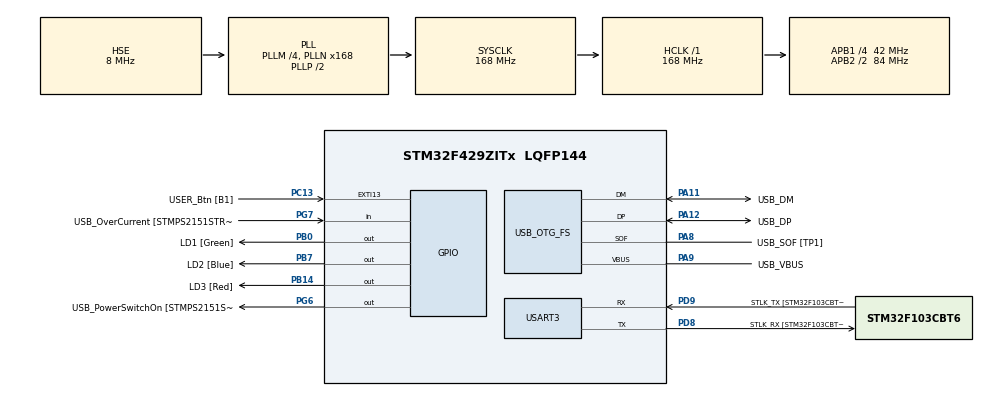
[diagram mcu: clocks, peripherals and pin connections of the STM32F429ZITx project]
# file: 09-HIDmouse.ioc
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Mcu.Family=STM32F4
Mcu.Name=STM32F429ZITx
Mcu.Package=LQFP144
NVIC.OTG_FS_IRQn=true\:0\:0\:false\:false\:true\:false\:true\:true
NVIC.PriorityGroup=NVIC_PRIORITYGROUP_4
PA1.GPIO_Label=RMII_REF_CLK [LAN8742A-CZ-TR_REFCLK0]
PA1.Signal=ETH_REF_CLK
PA10.GPIO_Label=USB_ID
PA10.Signal=USB_OTG_FS_ID
PA11.GPIO_Label=USB_DM
PA11.Mode=Device_Only
PA11.Signal=USB_OTG_FS_DM
PA12.GPIO_Label=USB_DP
PA12.Mode=Device_Only
PA12.Signal=USB_OTG_FS_DP
PA13.GPIO_Label=TMS
PA13.Mode=Serial_Wire
PA13.Signal=SYS_JTMS-SWDIO
PA14.GPIO_Label=TCK
PA14.Mode=Serial_Wire
PA14.Signal=SYS_JTCK-SWCLK
PA2.GPIO_Label=RMII_MDIO [LAN8742A-CZ-TR_MDIO]
PA2.Signal=ETH_MDIO
PA7.GPIO_Label=RMII_CRS_DV [LAN8742A-CZ-TR_CRS_DV]
PA7.Signal=ETH_CRS_DV
PA8.GPIO_Label=USB_SOF [TP1]
PA8.Mode=Activate_SOF_FS
PA8.Signal=USB_OTG_FS_SOF
PA9.GPIO_Label=USB_VBUS
PA9.Mode=Activate_VBUS
PA9.Signal=USB_OTG_FS_VBUS
PB0.GPIO_Label=LD1 [Green]
PB0.Signal=GPIO_Output
PB13.GPIO_Label=RMII_TXD1 [LAN8742A-CZ-TR_TXD1]
PB13.Signal=ETH_TXD1
PB14.GPIO_Label=LD3 [Red]
PB14.Signal=GPIO_Output
PB7.GPIO_Label=LD2 [Blue]
PB7.Signal=GPIO_Output
PC1.GPIO_Label=RMII_MDC [LAN8742A-CZ-TR_MDC]
PC1.Signal=ETH_MDC
PC13.GPIO_Label=USER_Btn [B1]
PC13.Signal=GPXTI13
PC14/OSC32_IN.Mode=LSE-External-Oscillator
PC14/OSC32_IN.Signal=RCC_OSC32_IN
PC15/OSC32_OUT.Mode=LSE-External-Oscillator
PC15/OSC32_OUT.Signal=RCC_OSC32_OUT
PC4.GPIO_Label=RMII_RXD0 [LAN8742A-CZ-TR_RXD0]
PC4.Signal=ETH_RXD0
PC5.GPIO_Label=RMII_RXD1 [LAN8742A-CZ-TR_RXD1]
PC5.Signal=ETH_RXD1
PD8.GPIO_Label=STLK_RX [STM32F103CBT6_PA3]
PD8.Mode=Asynchronous
PD8.Signal=USART3_TX
PD9.GPIO_Label=STLK_TX [STM32F103CBT6_PA2]
PD9.Mode=Asynchronous
PD9.Signal=USART3_RX
PG11.GPIO_Label=RMII_TX_EN [LAN8742A-CZ-TR_TXEN]
PG11.Signal=ETH_TX_EN
PG13.GPIO_Label=RMII_TXD0 [LAN8742A-CZ-TR_TXD0]
PG13.Signal=ETH_TXD0
PG6.GPIO_Label=USB_PowerSwitchOn [STMPS2151STR_EN]
PG6.Signal=GPIO_Output
PG7.GPIO_Label=USB_OverCurrent [STMPS2151STR_FAULT]
PG7.Signal=GPIO_Input
PH0/OSC_IN.GPIO_Label=MCO [STM32F103CBT6_PA8]
PH0/OSC_IN.Mode=HSE-External-Clock-Source
PH0/OSC_IN.Signal=RCC_OSC_IN
PH1/OSC_OUT.Mode=HSE-External-Clock-Source
PH1/OSC_OUT.Signal=RCC_OSC_OUT
ProjectManager.HeapSize=0x200
ProjectManager.StackSize=0x400
ProjectManager.TargetToolchain=STM32CubeIDE
RCC.48MHZClocksFreq_Value=48000000
RCC.AHBFreq_Value=168000000
RCC.APB1CLKDivider=RCC_HCLK_DIV4
RCC.APB1Freq_Value=42000000
RCC.APB1TimFreq_Value=84000000
RCC.APB2CLKDivider=RCC_HCLK_DIV2
RCC.APB2Freq_Value=84000000
RCC.APB2TimCLKDivider=2
RCC.APB2TimFreq_Value=168000000
RCC.CortexFreq_Value=168000000
RCC.HCLKFreq_Value=168000000
RCC.HSE_VALUE=8000000
RCC.HSI_VALUE=16000000
RCC.PLLM=4
RCC.PLLMUL=RCC_PLL_MUL9
RCC.PLLN=168
RCC.PLLQ=7
RCC.PRESCALERUSB=RCC_USBCLKSOURCE_PLL_DIV1_5
RCC.SYSCLKFreq_VALUE=168000000
RCC.SYSCLKSource=RCC_SYSCLKSOURCE_PLLCLK
RCC.SYSCLKSourceVirtual=RCC_SYSCLKSOURCE_PLLCLK
RCC.USBFreq_Value=48000000
RCC.VCOOutputFreq_Value=336000000
USART3.VirtualMode=VM_ASYNC
USB_DEVICE.CLASS_NAME_FS=HID
USB_DEVICE.VirtualMode-HID_FS=Hid
USB_DEVICE.VirtualModeFS=Hid_FS
USB_OTG_FS.VirtualMode=Device_Only
VP_USB_DEVICE_VS_USB_DEVICE_HID_FS.Mode=HID_FS
board=NUCLEO-F429ZI

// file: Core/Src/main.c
/* USER CODE BEGIN Header */
/**
  ******************************************************************************
  * @file           : main.c
  * @brief          : Main program body
  ******************************************************************************
  * @attention
  *
  * Copyright (c) 2024 STMicroelectronics.
  * All rights reserved.
  *
  * This software is licensed under terms that can be found in the LICENSE file
  * in the root directory of this software component.
  * If no LICENSE file comes with this software, it is provided AS-IS.
  *
  ******************************************************************************
  */
/* USER CODE END Header */
#include "main.h"
#include "usb_device.h"

/* USER CODE BEGIN Includes */

#include "usbd_hid.h"
#include "math.h"

/* USER CODE END Includes */

UART_HandleTypeDef huart3;

/* USER CODE BEGIN PV */

extern USBD_HandleTypeDef hUsbDeviceFS;		// handle na usb device

float sx = 0;
float sy = 0;

/* USER CODE END PV */

void SystemClock_Config(void);
static void MX_GPIO_Init(void);
static void MX_USART3_UART_Init(void);

/* USER CODE BEGIN 0 */

// funkcia na poslanie dat
static void step(int8_t x, int8_t y, int8_t btn)
{
	uint8_t buff[4];
	buff[0] = btn; // press the left button	01 pressed, 00 not pressed
	buff[1] = x; // shift X relative position - plus is to the right
	buff[2] = y; // shift Y relative position - plus is to the down
	buff[3] = 0; // no scroll
	USBD_HID_SendReport(&hUsbDeviceFS, buff, sizeof(buff));
	HAL_Delay(USBD_HID_GetPollingInterval(&hUsbDeviceFS));
}

void circle(int radius, int angleStart, int angleDraw)
{
	float angle = angleStart + 90;

	step(radius * cos(angleStart *(M_PI/180)), radius * sin(angleStart * (M_PI/180)), 0);	//posunutie na zaciatok kreslenia kruznice

	int Step = radius / M_PI;

	for (int i = 0; i <= (angleDraw/6); i++)
	{
		step(Step * cos(angle *(M_PI/180)), Step * sin(angle * (M_PI/180)), 1);
		angle += 6;
	}

	step(0, 0, 0);
}

/* USER CODE END 0 */

int main(void)
{

  /* MCU Configuration--------------------------------------------------------*/

  /* Reset of all peripherals, Initializes the Flash interface and the Systick. */
  HAL_Init();

  /* Configure the system clock */
  SystemClock_Config();

  /* Initialize all configured peripherals */
  MX_GPIO_Init();
  MX_USART3_UART_Init();
  MX_USB_DEVICE_Init();

  /* Infinite loop */
  /* USER CODE BEGIN WHILE */
  while (1)
  {

	  if (HAL_GPIO_ReadPin(USER_Btn_GPIO_Port, USER_Btn_Pin))
	  {
		  //step(10, -5, 0);
		  circle(50, 0, 360);
		  step(-65, 0, 0);
		  circle(40, 20, 140);
		  step(25, -70, 0);
		  circle(10, 0, 360);
		  step(80, 0, 0);
		  circle(10, 0, 360);
		  step(-55, 10, 0);
		  step(0, 0, 1);
		  step(0, 35, 1);
		  step(0, 0, 0);
	  }

	  HAL_Delay(300);

    /* USER CODE END WHILE */

  }
}

void SystemClock_Config(void)
{
  RCC_OscInitTypeDef RCC_OscInitStruct = {0};
  RCC_ClkInitTypeDef RCC_ClkInitStruct = {0};

  /** Configure the main internal regulator output voltage
  */
  __HAL_RCC_PWR_CLK_ENABLE();
  __HAL_PWR_VOLTAGESCALING_CONFIG(PWR_REGULATOR_VOLTAGE_SCALE1);

  /** Initializes the RCC Oscillators according to the specified parameters
  * in the RCC_OscInitTypeDef structure.
  */
  RCC_OscInitStruct.OscillatorType = RCC_OSCILLATORTYPE_HSE;
  RCC_OscInitStruct.HSEState = RCC_HSE_BYPASS;
  RCC_OscInitStruct.PLL.PLLState = RCC_PLL_ON;
  RCC_OscInitStruct.PLL.PLLSource = RCC_PLLSOURCE_HSE;
  RCC_OscInitStruct.PLL.PLLM = 4;
  RCC_OscInitStruct.PLL.PLLN = 168;
  RCC_OscInitStruct.PLL.PLLP = RCC_PLLP_DIV2;
  RCC_OscInitStruct.PLL.PLLQ = 7;
  if (HAL_RCC_OscConfig(&RCC_OscInitStruct) != HAL_OK)
  {
    Error_Handler();
  }

  /** Initializes the CPU, AHB and APB buses clocks
  */
  RCC_ClkInitStruct.ClockType = RCC_CLOCKTYPE_HCLK|RCC_CLOCKTYPE_SYSCLK
                              |RCC_CLOCKTYPE_PCLK1|RCC_CLOCKTYPE_PCLK2;
  RCC_ClkInitStruct.SYSCLKSource = RCC_SYSCLKSOURCE_PLLCLK;
  RCC_ClkInitStruct.AHBCLKDivider = RCC_SYSCLK_DIV1;
  RCC_ClkInitStruct.APB1CLKDivider = RCC_HCLK_DIV4;
  RCC_ClkInitStruct.APB2CLKDivider = RCC_HCLK_DIV2;

  if (HAL_RCC_ClockConfig(&RCC_ClkInitStruct, FLASH_LATENCY_5) != HAL_OK)
  {
    Error_Handler();
  }
}

static void MX_USART3_UART_Init(void)
{

  huart3.Instance = USART3;
  huart3.Init.BaudRate = 115200;
  huart3.Init.WordLength = UART_WORDLENGTH_8B;
  huart3.Init.StopBits = UART_STOPBITS_1;
  huart3.Init.Parity = UART_PARITY_NONE;
  huart3.Init.Mode = UART_MODE_TX_RX;
  huart3.Init.HwFlowCtl = UART_HWCONTROL_NONE;
  huart3.Init.OverSampling = UART_OVERSAMPLING_16;
  if (HAL_UART_Init(&huart3) != HAL_OK)
  {
    Error_Handler();
  }

}

static void MX_GPIO_Init(void)
{
  GPIO_InitTypeDef GPIO_InitStruct = {0};

  /* GPIO Ports Clock Enable */
  __HAL_RCC_GPIOC_CLK_ENABLE();
  __HAL_RCC_GPIOH_CLK_ENABLE();
  __HAL_RCC_GPIOA_CLK_ENABLE();
  __HAL_RCC_GPIOB_CLK_ENABLE();
  __HAL_RCC_GPIOD_CLK_ENABLE();
  __HAL_RCC_GPIOG_CLK_ENABLE();

  /*Configure GPIO pin Output Level */
  HAL_GPIO_WritePin(GPIOB, LD1_Pin|LD3_Pin|LD2_Pin, GPIO_PIN_RESET);

  /*Configure GPIO pin Output Level */
  HAL_GPIO_WritePin(USB_PowerSwitchOn_GPIO_Port, USB_PowerSwitchOn_Pin, GPIO_PIN_RESET);

  /*Configure GPIO pin : USER_Btn_Pin */
  GPIO_InitStruct.Pin = USER_Btn_Pin;
  GPIO_InitStruct.Mode = GPIO_MODE_IT_RISING;
  GPIO_InitStruct.Pull = GPIO_NOPULL;
  HAL_GPIO_Init(USER_Btn_GPIO_Port, &GPIO_InitStruct);

  /*Configure GPIO pins : RMII_MDC_Pin RMII_RXD0_Pin RMII_RXD1_Pin */
  GPIO_InitStruct.Pin = RMII_MDC_Pin|RMII_RXD0_Pin|RMII_RXD1_Pin;
  GPIO_InitStruct.Mode = GPIO_MODE_AF_PP;
  GPIO_InitStruct.Pull = GPIO_NOPULL;
  GPIO_InitStruct.Speed = GPIO_SPEED_FREQ_VERY_HIGH;
  GPIO_InitStruct.Alternate = GPIO_AF11_ETH;
  HAL_GPIO_Init(GPIOC, &GPIO_InitStruct);

  /*Configure GPIO pins : RMII_REF_CLK_Pin RMII_MDIO_Pin RMII_CRS_DV_Pin */
  GPIO_InitStruct.Pin = RMII_REF_CLK_Pin|RMII_MDIO_Pin|RMII_CRS_DV_Pin;
  GPIO_InitStruct.Mode = GPIO_MODE_AF_PP;
  GPIO_InitStruct.Pull = GPIO_NOPULL;
  GPIO_InitStruct.Speed = GPIO_SPEED_FREQ_VERY_HIGH;
  GPIO_InitStruct.Alternate = GPIO_AF11_ETH;
  HAL_GPIO_Init(GPIOA, &GPIO_InitStruct);

  /*Configure GPIO pins : LD1_Pin LD3_Pin LD2_Pin */
  GPIO_InitStruct.Pin = LD1_Pin|LD3_Pin|LD2_Pin;
  GPIO_InitStruct.Mode = GPIO_MODE_OUTPUT_PP;
  GPIO_InitStruct.Pull = GPIO_NOPULL;
  GPIO_InitStruct.Speed = GPIO_SPEED_FREQ_LOW;
  HAL_GPIO_Init(GPIOB, &GPIO_InitStruct);

  /*Configure GPIO pin : RMII_TXD1_Pin */
  GPIO_InitStruct.Pin = RMII_TXD1_Pin;
  GPIO_InitStruct.Mode = GPIO_MODE_AF_PP;
  GPIO_InitStruct.Pull = GPIO_NOPULL;
  GPIO_InitStruct.Speed = GPIO_SPEED_FREQ_VERY_HIGH;
  GPIO_InitStruct.Alternate = GPIO_AF11_ETH;
  HAL_GPIO_Init(RMII_TXD1_GPIO_Port, &GPIO_InitStruct);

  /*Configure GPIO pin : USB_PowerSwitchOn_Pin */
  GPIO_InitStruct.Pin = USB_PowerSwitchOn_Pin;
  GPIO_InitStruct.Mode = GPIO_MODE_OUTPUT_PP;
  GPIO_InitStruct.Pull = GPIO_NOPULL;
  GPIO_InitStruct.Speed = GPIO_SPEED_FREQ_LOW;
  HAL_GPIO_Init(USB_PowerSwitchOn_GPIO_Port, &GPIO_InitStruct);

  /*Configure GPIO pin : USB_OverCurrent_Pin */
  GPIO_InitStruct.Pin = USB_OverCurrent_Pin;
  GPIO_InitStruct.Mode = GPIO_MODE_INPUT;
  GPIO_InitStruct.Pull = GPIO_NOPULL;
  HAL_GPIO_Init(USB_OverCurrent_GPIO_Port, &GPIO_InitStruct);

  /*Configure GPIO pins : RMII_TX_EN_Pin RMII_TXD0_Pin */
  GPIO_InitStruct.Pin = RMII_TX_EN_Pin|RMII_TXD0_Pin;
  GPIO_InitStruct.Mode = GPIO_MODE_AF_PP;
  GPIO_InitStruct.Pull = GPIO_NOPULL;
  GPIO_InitStruct.Speed = GPIO_SPEED_FREQ_VERY_HIGH;
  GPIO_InitStruct.Alternate = GPIO_AF11_ETH;
  HAL_GPIO_Init(GPIOG, &GPIO_InitStruct);

}

void Error_Handler(void)
{
  __disable_irq();
  while (1)
  {
  }
}
